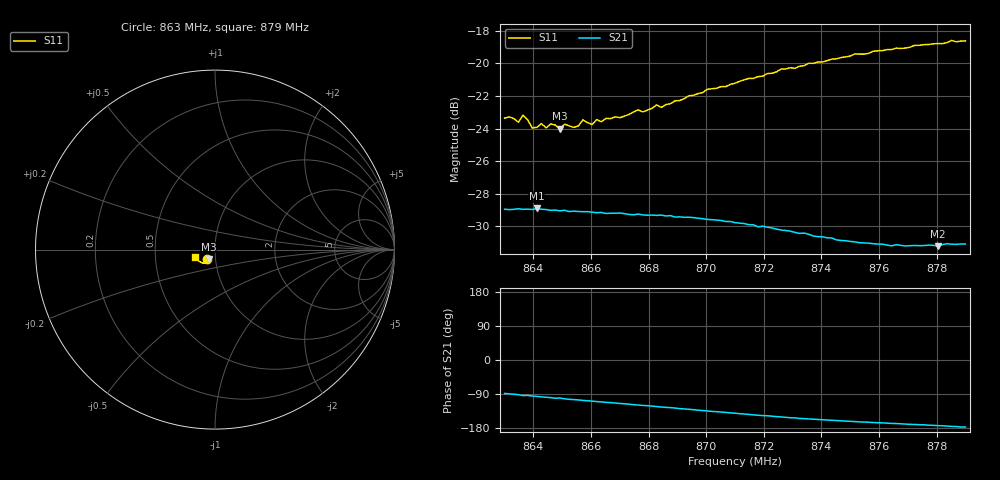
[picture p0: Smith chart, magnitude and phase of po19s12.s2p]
# HZ S RI R 50
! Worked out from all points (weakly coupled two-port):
!   101 points, 863 MHz to 879 MHz, reference 50 ohm
!   highest |S21| = -28.91 dB at 864.12 MHz (marker M1); lowest = -31.2 dB at 878.04 MHz (marker M2)
!   lowest |S11| = -24.0 dB at 864.92 MHz (marker M3), VSWR 1.13, Z = 46.3 - j4.81 ohm
!   |S11| at or under -10 dB: start of sweep to end of sweep
!   S12 and S22 are empty: the file has one direction only
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8.63e8  -0.0438 -0.0519  0.00109 -0.0357  0 0  0 0
8.6348e8  -0.0401 -0.0524  -0.00101 -0.0358  0 0  0 0
8.6364e8  -0.0453 -0.0526  -0.00242 -0.0356  0 0  0 0
8.6396e8  -0.0383 -0.0505  -0.003 -0.0355  0 0  0 0
8.6412e8  -0.0368 -0.0519  -0.00385 -0.0357  0 0  0 0
8.6444e8  -0.038 -0.0507  -0.00508 -0.0352  0 0  0 0
8.646e8  -0.0371 -0.0535  -0.00572 -0.0349  0 0  0 0
8.6492e8  -0.0359 -0.0517  -0.00625 -0.0347  0 0  0 0
8.6508e8  -0.0358 -0.0544  -0.00762 -0.0346  0 0  0 0
8.6556e8  -0.0345 -0.0542  -0.00933 -0.0338  0 0  0 0
8.6572e8  -0.0354 -0.057  -0.00999 -0.0336  0 0  0 0
8.6604e8  -0.0327 -0.0561  -0.011 -0.0331  0 0  0 0
8.662e8  -0.0337 -0.0582  -0.0117 -0.0328  0 0  0 0
8.67e8  -0.0332 -0.0595  -0.0145 -0.0316  0 0  0 0
8.6828e8  -0.0353 -0.0657  -0.0185 -0.0287  0 0  0 0
8.6844e8  -0.0344 -0.0647  -0.0192 -0.0283  0 0  0 0
8.7004e8  -0.0426 -0.0716  -0.0233 -0.0236  0 0  0 0
8.71e8  -0.0467 -0.0733  -0.025 -0.0207  0 0  0 0
8.7372e8  -0.0665 -0.0748  -0.027 -0.0119  0 0  0 0
8.7644e8  -0.0912 -0.062  -0.0269 -0.00602  0 0  0 0
8.7804e8  -0.1039 -0.0494  -0.0273 -0.00325  0 0  0 0
8.79e8  -0.1102 -0.0403  -0.0279 -0.0015  0 0  0 0
